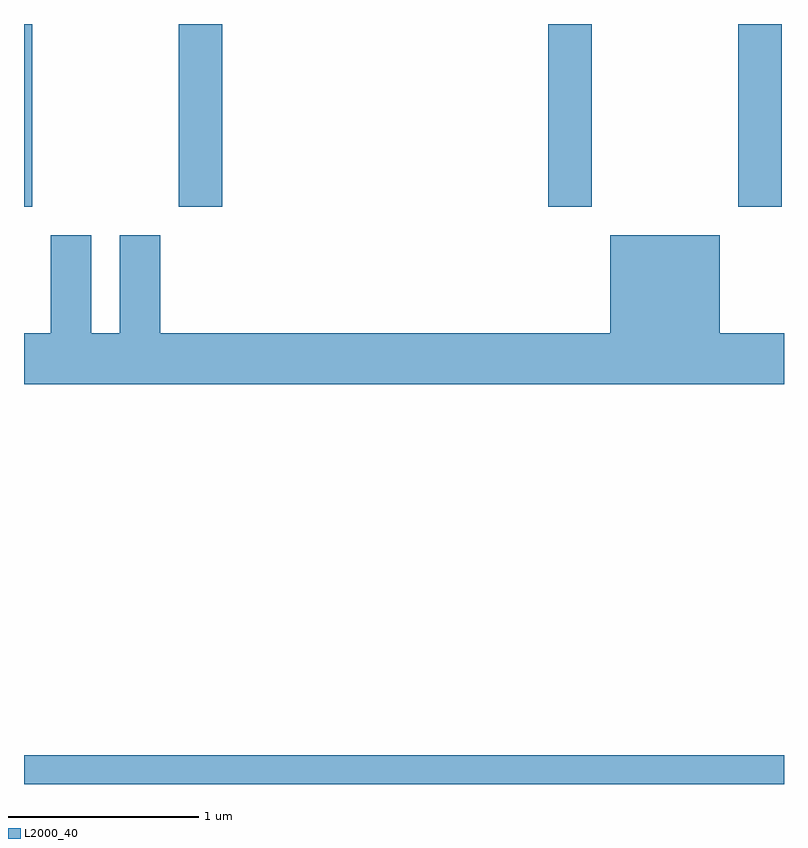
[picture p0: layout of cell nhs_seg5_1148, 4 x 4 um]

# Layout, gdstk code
import gdstk
lib = gdstk.Library(unit=1e-6, precision=1e-09)
def R(c, l, rs):  # rectangles x0, y0, x1, y1
    for r in rs: c.add(gdstk.rectangle(r[:2], r[2:], *l))
def P(c, l, *ps):  # polygons
    for p in ps: c.add(gdstk.Polygon(p, *l))
L2000_40 = (2000, 40)

nhs_seg5_1148 = lib.new_cell('nhs_seg5_1148')
R(nhs_seg5_1148, L2000_40, [(219.611,1408.072,223.611,1408.224), (219.611,1411.111,219.654,1412.072), (220.426,1411.111,220.654,1412.072), (222.371,1411.111,222.599,1412.072), (223.371,1411.111,223.599,1412.072)])
P(nhs_seg5_1148, L2000_40, [(223.611,1410.444),(223.274,1410.444),(223.274,1410.959),(222.696,1410.959),(222.696,1410.444),(220.329,1410.444),(220.329,1410.959),(220.116,1410.959),(220.116,1410.444),(219.964,1410.444),(219.964,1410.959),(219.751,1410.959),(219.751,1410.444),(219.611,1410.444),(219.611,1410.176),(223.611,1410.176)])

lib.write_gds('nhs_seg5_1148.gds')
